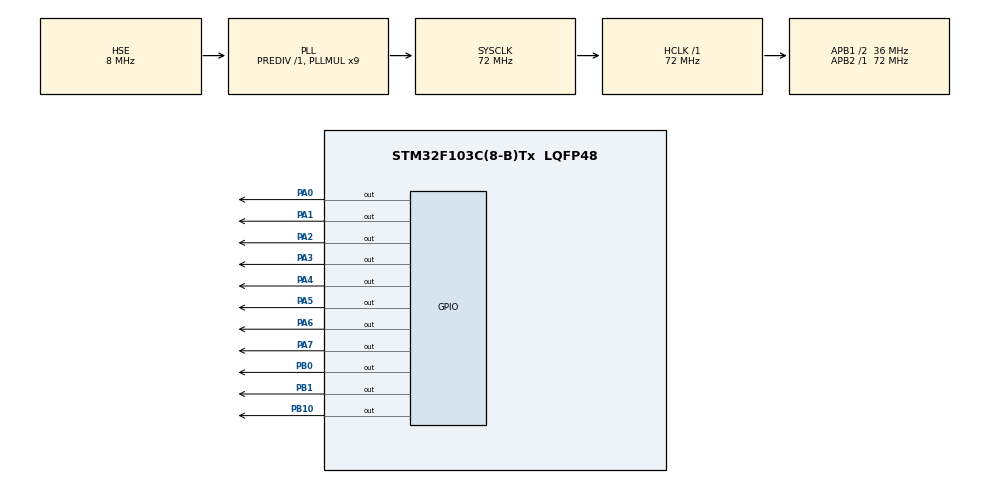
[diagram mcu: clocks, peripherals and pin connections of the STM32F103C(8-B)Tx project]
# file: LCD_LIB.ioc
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Mcu.Family=STM32F1
Mcu.Name=STM32F103C(8-B)Tx
Mcu.Package=LQFP48
NVIC.PriorityGroup=NVIC_PRIORITYGROUP_4
PA0-WKUP.Signal=GPIO_Output
PA1.Signal=GPIO_Output
PA13.Mode=Serial_Wire
PA13.Signal=SYS_JTMS-SWDIO
PA14.Mode=Serial_Wire
PA14.Signal=SYS_JTCK-SWCLK
PA2.Signal=GPIO_Output
PA3.Signal=GPIO_Output
PA4.Signal=GPIO_Output
PA5.Signal=GPIO_Output
PA6.Signal=GPIO_Output
PA7.Signal=GPIO_Output
PB0.Signal=GPIO_Output
PB1.Signal=GPIO_Output
PB10.Signal=GPIO_Output
PD0-OSC_IN.Mode=HSE-External-Oscillator
PD0-OSC_IN.Signal=RCC_OSC_IN
PD1-OSC_OUT.Mode=HSE-External-Oscillator
PD1-OSC_OUT.Signal=RCC_OSC_OUT
ProjectManager.HeapSize=0x200
ProjectManager.StackSize=0x400
ProjectManager.TargetToolchain=MDK-ARM V5.32
RCC.AHBFreq_Value=72000000
RCC.APB1CLKDivider=RCC_HCLK_DIV2
RCC.APB1Freq_Value=36000000
RCC.APB1TimFreq_Value=72000000
RCC.APB2Freq_Value=72000000
RCC.APB2TimFreq_Value=72000000
RCC.HCLKFreq_Value=72000000
RCC.PLLMUL=RCC_PLL_MUL9
RCC.PLLSourceVirtual=RCC_PLLSOURCE_HSE
RCC.SYSCLKFreq_VALUE=72000000
RCC.SYSCLKSource=RCC_SYSCLKSOURCE_PLLCLK
RCC.USBFreq_Value=72000000
board=custom

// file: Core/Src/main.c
/* USER CODE BEGIN Header */
/**
  ******************************************************************************
  * @file           : main.c
  * @brief          : Main program body
  ******************************************************************************
  * @attention
  *
  * Copyright (c) 2025 STMicroelectronics.
  * All rights reserved.
  *
  * This software is licensed under terms that can be found in the LICENSE file
  * in the root directory of this software component.
  * If no LICENSE file comes with this software, it is provided AS-IS.
  *
  ******************************************************************************
  */
/* USER CODE END Header */
#include "main.h"

void SystemClock_Config(void);
static void MX_GPIO_Init(void);

/* USER CODE BEGIN 0 */
LCD myLCD;

/* USER CODE END 0 */

int main(void)
{

  /* USER CODE BEGIN 1 */
	myLCD.PORT_DATA = GPIOA;
	myLCD.PORT_R = GPIOB;
	myLCD.D0 = GPIO_PIN_0;
	myLCD.D1 = GPIO_PIN_1;
	myLCD.D2 = GPIO_PIN_2;
	myLCD.D3 = GPIO_PIN_3;
	myLCD.D4 = GPIO_PIN_4;
	myLCD.D5 = GPIO_PIN_5;
	myLCD.D6 = GPIO_PIN_6;
	myLCD.D7 = GPIO_PIN_7;
	myLCD.RS = GPIO_PIN_0;
	myLCD.D0 = GPIO_PIN_1;
	myLCD.En = GPIO_PIN_10;

  /* USER CODE END 1 */

  /* MCU Configuration--------------------------------------------------------*/

  /* Reset of all peripherals, Initializes the Flash interface and the Systick. */
  HAL_Init();

  /* Configure the system clock */
  SystemClock_Config();

  /* Initialize all configured peripherals */
  MX_GPIO_Init();
  /* USER CODE BEGIN 2 */
	LCD_Init(&myLCD);
	LCD_Print(&myLCD,"Hello World");
  /* USER CODE END 2 */

  /* Infinite loop */
  while (1)
  {

  }
}

void SystemClock_Config(void)
{
  RCC_OscInitTypeDef RCC_OscInitStruct = {0};
  RCC_ClkInitTypeDef RCC_ClkInitStruct = {0};

  /** Initializes the RCC Oscillators according to the specified parameters
  * in the RCC_OscInitTypeDef structure.
  */
  RCC_OscInitStruct.OscillatorType = RCC_OSCILLATORTYPE_HSE;
  RCC_OscInitStruct.HSEState = RCC_HSE_ON;
  RCC_OscInitStruct.HSEPredivValue = RCC_HSE_PREDIV_DIV1;
  RCC_OscInitStruct.HSIState = RCC_HSI_ON;
  RCC_OscInitStruct.PLL.PLLState = RCC_PLL_ON;
  RCC_OscInitStruct.PLL.PLLSource = RCC_PLLSOURCE_HSE;
  RCC_OscInitStruct.PLL.PLLMUL = RCC_PLL_MUL9;
  if (HAL_RCC_OscConfig(&RCC_OscInitStruct) != HAL_OK)
  {
    Error_Handler();
  }

  /** Initializes the CPU, AHB and APB buses clocks
  */
  RCC_ClkInitStruct.ClockType = RCC_CLOCKTYPE_HCLK|RCC_CLOCKTYPE_SYSCLK
                              |RCC_CLOCKTYPE_PCLK1|RCC_CLOCKTYPE_PCLK2;
  RCC_ClkInitStruct.SYSCLKSource = RCC_SYSCLKSOURCE_PLLCLK;
  RCC_ClkInitStruct.AHBCLKDivider = RCC_SYSCLK_DIV1;
  RCC_ClkInitStruct.APB1CLKDivider = RCC_HCLK_DIV2;
  RCC_ClkInitStruct.APB2CLKDivider = RCC_HCLK_DIV1;

  if (HAL_RCC_ClockConfig(&RCC_ClkInitStruct, FLASH_LATENCY_2) != HAL_OK)
  {
    Error_Handler();
  }
}

static void MX_GPIO_Init(void)
{
  GPIO_InitTypeDef GPIO_InitStruct = {0};

  /* GPIO Ports Clock Enable */
  __HAL_RCC_GPIOD_CLK_ENABLE();
  __HAL_RCC_GPIOA_CLK_ENABLE();
  __HAL_RCC_GPIOB_CLK_ENABLE();

  /*Configure GPIO pin Output Level */
  HAL_GPIO_WritePin(GPIOA, GPIO_PIN_0|GPIO_PIN_1|GPIO_PIN_2|GPIO_PIN_3
                          |GPIO_PIN_4|GPIO_PIN_5|GPIO_PIN_6|GPIO_PIN_7, GPIO_PIN_RESET);

  /*Configure GPIO pin Output Level */
  HAL_GPIO_WritePin(GPIOB, GPIO_PIN_0|GPIO_PIN_1|GPIO_PIN_10, GPIO_PIN_RESET);

  /*Configure GPIO pins : PA0 PA1 PA2 PA3
                           PA4 PA5 PA6 PA7 */
  GPIO_InitStruct.Pin = GPIO_PIN_0|GPIO_PIN_1|GPIO_PIN_2|GPIO_PIN_3
                          |GPIO_PIN_4|GPIO_PIN_5|GPIO_PIN_6|GPIO_PIN_7;
  GPIO_InitStruct.Mode = GPIO_MODE_OUTPUT_PP;
  GPIO_InitStruct.Pull = GPIO_NOPULL;
  GPIO_InitStruct.Speed = GPIO_SPEED_FREQ_LOW;
  HAL_GPIO_Init(GPIOA, &GPIO_InitStruct);

  /*Configure GPIO pins : PB0 PB1 PB10 */
  GPIO_InitStruct.Pin = GPIO_PIN_0|GPIO_PIN_1|GPIO_PIN_10;
  GPIO_InitStruct.Mode = GPIO_MODE_OUTPUT_PP;
  GPIO_InitStruct.Pull = GPIO_NOPULL;
  GPIO_InitStruct.Speed = GPIO_SPEED_FREQ_LOW;
  HAL_GPIO_Init(GPIOB, &GPIO_InitStruct);

}

void Error_Handler(void)
{
  __disable_irq();
  while (1)
  {
  }
}
